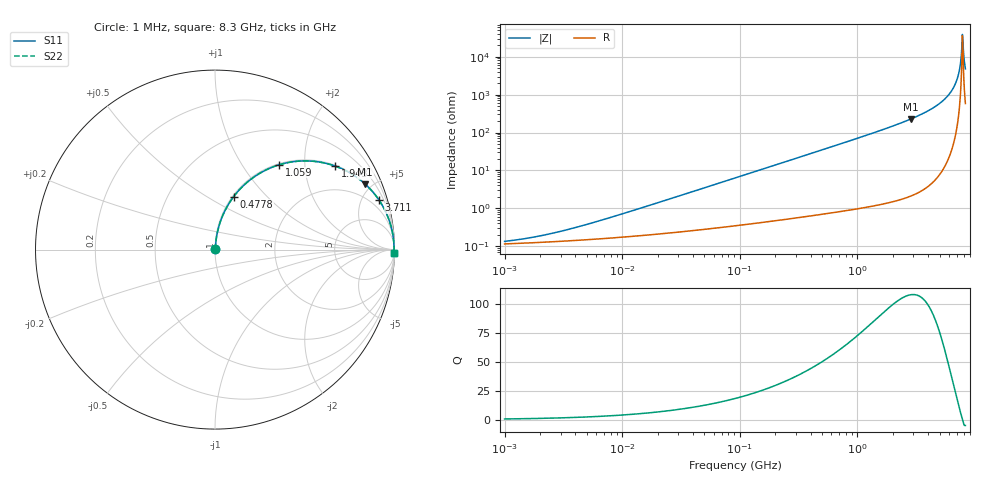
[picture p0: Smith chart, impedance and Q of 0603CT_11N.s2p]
# MHz  S  MA  R  50
!Freq  MagS11  AngS11  MagS21  AngS21  MagS12  AngS12  MagS22  AngS22
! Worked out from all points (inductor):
!   908 points, 1 MHz to 8.3 GHz, reference 50 ohm
!   read as one part in series: L = 11 nH near 6.892 MHz
!   highest Q = 108 at 2.865 GHz (marker M1), where L = 12.7 nH
!   self-resonance near 7.826 GHz
!   S11 on the Smith chart (normalised r, x): 1 MHz: 1.00, +0.00; 477.8 MHz: 1.01, +0.66; 1.059 GHz: 1.02, +1.49; 1.943 GHz: 1.03, +2.86; 3.711 GHz: 1.06, +6.61; 8.3 GHz: 13, -95
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1  0.001339 31.0  0.9989 -0.0  0.9989 -0.0  0.001339 31.0
2.047099  0.001895 48.1  0.9987 -0.1  0.9987 -0.1  0.001895 48.1
4.537836  0.003452 65.0  0.9985 -0.2  0.9985 -0.2  0.003452 65.0
20.38808  0.01421 80.7  0.9978 -0.8  0.9978 -0.8  0.01421 80.7
91.60173  0.06307 83.3  0.9946 -3.6  0.9946 -3.6  0.06307 83.3
205.0855  0.1399 80.1  0.9855 -8.0  0.9855 -8.0  0.1399 80.1
411.5581  0.2728 72.9  0.956 -15.8  0.956 -15.8  0.2728 72.9
477.8062  0.3128 70.6  0.9434 -18.2  0.9434 -18.2  0.3128 70.6
1059.16  0.594 52.8  0.7966 -36.4  0.7966 -36.4  0.594 52.8
1849.092  0.8003 36.3  0.5914 -53.2  0.5914 -53.2  0.8003 36.3
1943.415  0.8158 34.8  0.5701 -54.7  0.5701 -54.7  0.8158 34.8
2864.831  0.913 23.6  0.3996 -65.9  0.3996 -65.9  0.913 23.6
3710.691  0.9545 16.8  0.289 -72.7  0.289 -72.7  0.9545 16.8
5152.999  0.9853 9.1  0.1574 -80.1  0.1574 -80.1  0.9853 9.1
6350.515  0.9948 4.5  0.07822 -83.9  0.07822 -83.9  0.9948 4.5
6808.611  0.9964 3.0  0.05237 -84.6  0.05237 -84.6  0.9964 3.0
7155.919  0.9972 1.9  0.03402 -84.3  0.03402 -84.3  0.9972 1.9
7372.75  0.9974 1.3  0.02305 -83.0  0.02305 -83.0  0.9974 1.3
7596.152  0.9976 0.7  0.01218 -78.2  0.01218 -78.2  0.9976 0.7
7826.323  0.9976 0.1  0.002585 -21.9  0.002585 -21.9  0.9976 0.1
8063.469  0.9975 -0.6  0.01031 75.6  0.01031 75.6  0.9975 -0.6
8300  0.9973 -1.2  0.02081 81.8  0.02081 81.8  0.9973 -1.2
